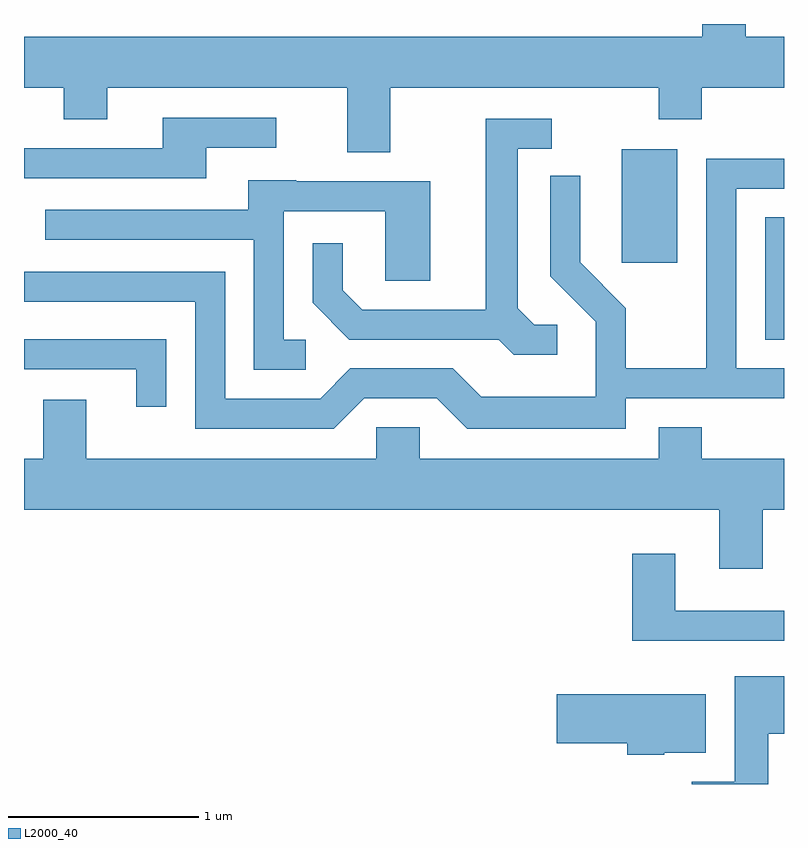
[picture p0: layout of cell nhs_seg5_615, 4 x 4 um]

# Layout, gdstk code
import gdstk
lib = gdstk.Library(unit=1e-6, precision=1e-09)
def R(c, l, rs):  # rectangles x0, y0, x1, y1
    for r in rs: c.add(gdstk.rectangle(r[:2], r[2:], *l))
def P(c, l, *ps):  # polygons
    for p in ps: c.add(gdstk.Polygon(p, *l))
L2000_40 = (2000, 40)

nhs_seg5_615 = lib.new_cell('nhs_seg5_615')
R(nhs_seg5_615, L2000_40, [(207.511,1404.411,207.611,1405.054), (206.756,1404.816,207.049,1405.414)])
P(nhs_seg5_615, L2000_40, [(205.539,1405.736),(206.951,1405.736),(206.951,1405.571),(207.179,1405.571),(207.179,1405.736),(207.611,1405.736),(207.611,1406.004),(207.409,1406.004),(207.409,1406.072),(207.181,1406.072),(207.181,1406.004),(203.611,1406.004),(203.611,1405.736),(203.821,1405.736),(203.821,1405.571),(204.049,1405.571),(204.049,1405.736),(205.311,1405.736),(205.311,1405.396),(205.539,1405.396)],
  [(204.569,1405.421),(204.938,1405.421),(204.938,1405.579),(204.341,1405.579),(204.341,1405.419),(203.611,1405.419),(203.611,1405.261),(204.569,1405.261)],
  [(206.418,1404.489),(206.297,1404.489),(206.209,1404.577),(206.209,1405.416),(206.388,1405.416),(206.388,1405.574),(206.041,1405.574),(206.041,1404.569),(205.392,1404.569),(205.289,1404.672),(205.289,1404.918),(205.131,1404.918),(205.131,1404.604),(205.324,1404.411),(206.109,1404.411),(206.189,1404.331),(206.418,1404.331)],
  [(205.402,1404.101),(205.784,1404.101),(205.944,1403.941),(206.779,1403.941),(206.779,1404.101),(207.611,1404.101),(207.611,1404.259),(207.359,1404.259),(207.359,1405.206),(207.611,1405.206),(207.611,1405.364),(207.201,1405.364),(207.201,1404.259),(206.779,1404.259),(206.779,1404.577),(206.539,1404.817),(206.539,1405.273),(206.381,1405.273),(206.381,1404.744),(206.621,1404.504),(206.621,1404.109),(206.017,1404.109),(205.867,1404.259),(205.329,1404.259),(205.169,1404.099),(204.669,1404.099),(204.669,1404.769),(203.611,1404.769),(203.611,1404.611),(204.511,1404.611),(204.511,1403.941),(205.242,1403.941)],
  [(205.093,1404.409),(204.979,1404.409),(204.979,1405.086),(205.511,1405.086),(205.511,1404.721),(205.749,1404.721),(205.749,1405.244),(205.045,1405.244),(205.045,1405.249),(204.791,1405.249),(204.791,1405.094),(203.723,1405.094),(203.723,1404.936),(204.821,1404.936),(204.821,1404.251),(205.093,1404.251)],
  [(204.359,1404.414),(203.611,1404.414),(203.611,1404.256),(204.201,1404.256),(204.201,1404.058),(204.359,1404.058)],
  [(207.499,1403.516),(207.611,1403.516),(207.611,1403.784),(207.179,1403.784),(207.179,1403.949),(206.951,1403.949),(206.951,1403.784),(205.694,1403.784),(205.694,1403.949),(205.466,1403.949),(205.466,1403.784),(203.939,1403.784),(203.939,1404.094),(203.711,1404.094),(203.711,1403.784),(203.611,1403.784),(203.611,1403.516),(207.271,1403.516),(207.271,1403.206),(207.499,1403.206)],
  [(207.611,1402.984),(207.039,1402.984),(207.039,1403.284),(206.811,1403.284),(206.811,1402.826),(207.611,1402.826)],
  [(207.529,1402.336),(207.611,1402.336),(207.611,1402.639),(207.351,1402.639),(207.351,1402.084),(207.126,1402.084),(207.126,1402.072),(207.529,1402.072)],
  [(206.98,1402.236),(207.199,1402.236),(207.199,1402.544),(206.416,1402.544),(206.416,1402.286),(206.786,1402.286),(206.786,1402.226),(206.98,1402.226)])

lib.write_gds('nhs_seg5_615.gds')
